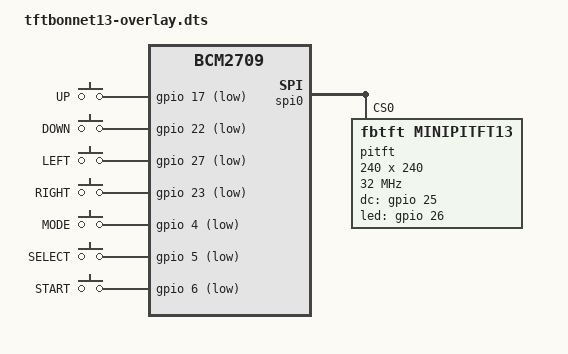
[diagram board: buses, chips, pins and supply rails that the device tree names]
/*
 * Device Tree overlay for Adafruit TFT Bonnet 1.3" 240x240 Display + Joystick
 *
 */

/dts-v1/;
/plugin/;

/ {
        compatible = "brcm,bcm2835", "brcm,bcm2708", "brcm,bcm2709";

        fragment@0 {
                target = <&spi0>;
                __overlay__ {
                        status = "okay";

                        spidev@0{
                                status = "disabled";
                        };

                        spidev@1{
                                status = "disabled";
                        };
                };
        };

        fragment@1 {
                target = <&gpio>;
                __overlay__ {
                        pitft_pins: pitft_pins {
                                brcm,pins = <25>;
                                brcm,function = <1>; /* out */
                                brcm,pull = <0>; /* none */
                        };
                };
        };

        fragment@2 {
                target = <&spi0>;
                __overlay__ {
                        /* needed to avoid dtc warning */
                        #address-cells = <1>;
                        #size-cells = <0>;

                        pitft: pitft@0{
                                compatible = "fbtft,minipitft13";
                                reg = <0>;
                                pinctrl-names = "default";
                                pinctrl-0 = <&pitft_pins>;
                                spi-max-frequency = <32000000>;
                                rotate = <0>;
                                width = <240>;
                                height = <240>;
                                buswidth = <8>;
                                dc-gpios = <&gpio 25 0>;
                                led-gpios = <&gpio 26 0>;
                                debug = <0>;
                        };
                };
        };

        fragment@3 {
                target-path = "/";
                __overlay__ {
                        keypad: tftbonnet13_keys {
                                compatible = "gpio-keys";

                                button@17 {
                                        label = "UP";         /* Controller Up     */
                                        linux,code = <0x220>; /* BTN_DPAD_UP       */
                                        gpios = <&gpio 17 1>;
                                };
                                button@22 {
                                        label = "DOWN";       /* Controller Down   */
                                        linux,code = <0x221>; /* BTN_DPAD_DOWN     */
                                        gpios = <&gpio 22 1>;
                                };
                                button@27 {
                                        label = "LEFT";       /* Controller Left   */
                                        linux,code = <0x222>; /* BTN_DPAD_LEFT     */
                                        gpios = <&gpio 27 1>;
                                };
                                button@23 {
                                        label = "RIGHT";      /* Controller Right  */
                                        linux,code = <0x223>; /* BTN_DPAD_RIGHT    */
                                        gpios = <&gpio 23 1>;
                                };
                                button@4 {
                                        label = "MODE";       /* Controller Center */
                                        linux,code = <0x13c>; /* BTN_MODE          */
                                        gpios = <&gpio 4 1>;
                                };
                                button@5 {
                                        label = "SELECT";     /* Controller B      */
                                        linux,code = <0x13a>; /* BTN_SELECT        */
                                        gpios = <&gpio 5 1>;
                                };
                                button@6 {
                                        label = "START";      /* Controller A      */
                                        linux,code = <0x13b>; /* BTN_START         */
                                        gpios = <&gpio 6 1>;
                                };
                        };
                };
        };

        __overrides__ {
                speed =   <&pitft>,"spi-max-frequency:0";
                rotate =  <&pitft>,"rotate:0";
                width =   <&pitft>,"width:0";
                height =  <&pitft>,"height:0";
                fps =     <&pitft>,"fps:0";
                debug =   <&pitft>,"debug:0";
        };
};
